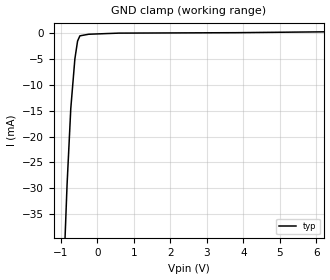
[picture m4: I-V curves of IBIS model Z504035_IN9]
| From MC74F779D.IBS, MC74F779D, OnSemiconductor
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| (C) COPYRIGHT 1993-2000
| MENTOR GRAPHICS CORPORATION
| ICX STANDARD LIBRARY, ICX PROJECT MODELING,
| ICX CUSTOM MODELING, ICX VENDOR MODEL
| ALL RIGHTS RESERVED.
| THE FOLLOWING ARE TRADEMARKS OR SERVICE MARKS OF
| MENTOR GRAPHICS CORPORATION:ICX (R), ICX STANDARD
| LIBRARY(R), ICX PROJECT MODELING(R), ICX CUSTOM
| MODELING(R), qualityIBIS(TM), MODELVIEWER(TM),
| AND MODELEDITOR(TM)
| ALL COPIES OF SOFTWARE, INCLUDING BUT NOT LIMITED TO
| ANY MODIFICATIONS, ENHANCEMENTS OR DERIVATIVE WORKS,
| MUST CONTAIN ALL MENTOR GRAPHICS CORPORATION'S
| NOTICES AND LEGENDS, INCLUDING THOSE EMBEDDED IN
| SOFTWARE AND THOSE AFFIXED TO SOFTWARE MEDIUM
| AND CONTAINER, AS RECEIVED FROM MENTOR GRAPHICS
| CORPORATION.
| Model Application Version 1.89 2/18/99.
[Model] Z504035_IN9
Model_type Input
Vinl = 500.0mV
Vinh = 2.700V
C_comp 4.000pF NA NA
| variable typ   min   max
[Voltage Range] 5.000V NA NA
[GND Clamp Reference] 0.000V NA NA
[POWER Clamp Reference] 5.000V NA NA
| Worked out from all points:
|   GND clamp passes 1 mA (typ) near -0.50 V on its own axis
[GND Clamp]
-5V       -803.5mA   NA         NA
-829.5mV  -29.33mA   NA         NA
-727.3mV  -14.59mA   NA         NA
-615.3mV  -5.032mA   NA         NA
-541.6mV  -1.597mA   NA         NA
-477.9mV  -589.2uA   NA         NA
-238.9mV  -283.8uA   NA         NA
585.8mV   -65.66uA   NA         NA
3.775V    17.94uA    NA         NA
10V       440.3uA    NA         NA
[POWER Clamp]
-5V       0A         NA         NA
10V       0A         NA         NA
